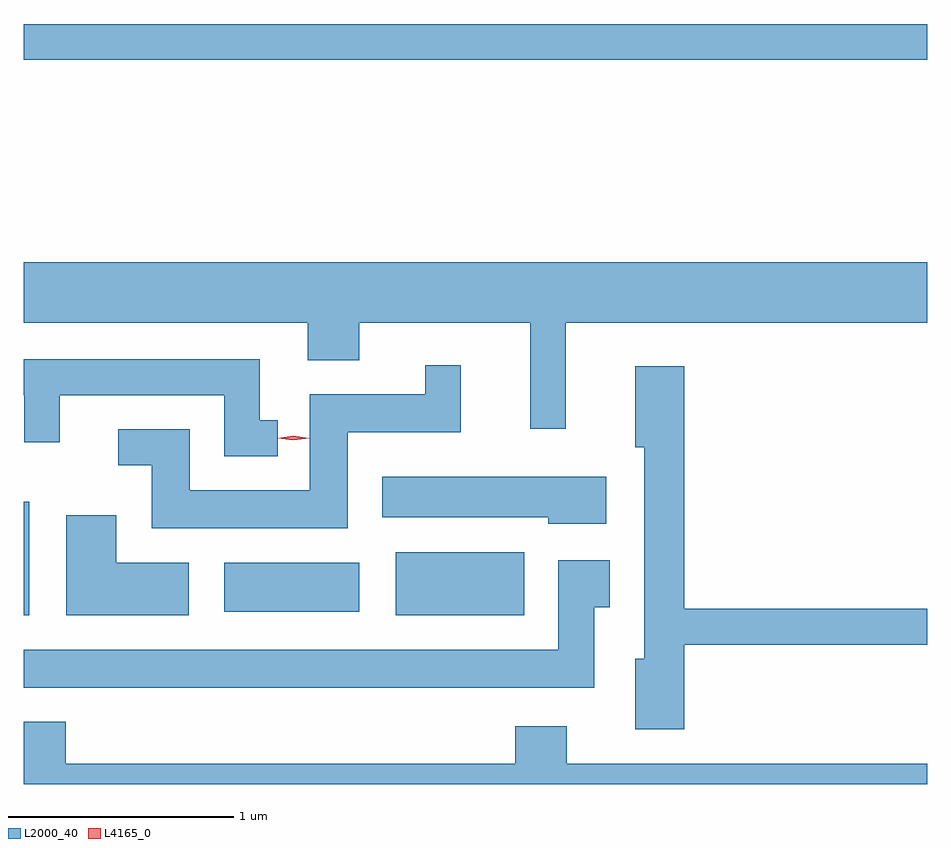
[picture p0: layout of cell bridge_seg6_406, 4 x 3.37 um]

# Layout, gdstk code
import gdstk
lib = gdstk.Library(unit=1e-6, precision=1e-09)
def R(c, l, rs):  # rectangles x0, y0, x1, y1
    for r in rs: c.add(gdstk.rectangle(r[:2], r[2:], *l))
def P(c, l, *ps):  # polygons
    for p in ps: c.add(gdstk.Polygon(p, *l))
L2000_40 = (2000, 40)
L4165_0 = (4165, 0)

bridge_seg6_406 = lib.new_cell('bridge_seg6_406')
R(bridge_seg6_406, L2000_40, [(921.864,1610.901,921.889,1611.404), (923.511,1610.901,924.079,1611.179), (922.751,1610.916,923.349,1611.134), (921.864,1613.361,925.864,1613.519)])
P(bridge_seg6_406, L2000_40, [(924.264,1612.196),(925.864,1612.196),(925.864,1612.464),(921.864,1612.464),(921.864,1612.196),(923.121,1612.196),(923.121,1612.031),(923.349,1612.031),(923.349,1612.196),(924.106,1612.196),(924.106,1611.728),(924.264,1611.728)],
  [(922.988,1611.764),(922.909,1611.764),(922.909,1612.034),(921.864,1612.034),(921.864,1611.876),(921.866,1611.876),(921.866,1611.668),(922.024,1611.668),(922.024,1611.876),(922.751,1611.876),(922.751,1611.606),(922.988,1611.606)],
  [(923.299,1611.711),(923.799,1611.711),(923.799,1612.008),(923.641,1612.008),(923.641,1611.879),(923.131,1611.879),(923.131,1611.454),(922.599,1611.454),(922.599,1611.724),(922.283,1611.724),(922.283,1611.566),(922.431,1611.566),(922.431,1611.286),(923.299,1611.286)],
  [(924.789,1610.771),(925.864,1610.771),(925.864,1610.929),(924.789,1610.929),(924.789,1612.004),(924.571,1612.004),(924.571,1611.646),(924.611,1611.646),(924.611,1610.709),(924.571,1610.709),(924.571,1610.396),(924.789,1610.396)],
  [(924.444,1611.514),(923.451,1611.514),(923.451,1611.336),(924.186,1611.336),(924.186,1611.306),(924.444,1611.306)],
  [(922.594,1611.134),(922.274,1611.134),(922.274,1611.344),(922.051,1611.344),(922.051,1610.901),(922.594,1610.901)],
  [(924.389,1610.936),(924.459,1610.936),(924.459,1611.144),(924.231,1611.144),(924.231,1610.749),(921.864,1610.749),(921.864,1610.581),(924.389,1610.581)],
  [(925.864,1610.244),(924.269,1610.244),(924.269,1610.409),(924.041,1610.409),(924.041,1610.244),(922.049,1610.244),(922.049,1610.429),(921.864,1610.429),(921.864,1610.154),(925.864,1610.154)])
P(bridge_seg6_406, L4165_0, [(923.058,1611.675),(922.989,1611.684),(922.989,1611.685),(922.989,1611.685),(923.058,1611.695),(923.128,1611.685),(923.128,1611.684),(923.128,1611.684)])

lib.write_gds('bridge_seg6_406.gds')
